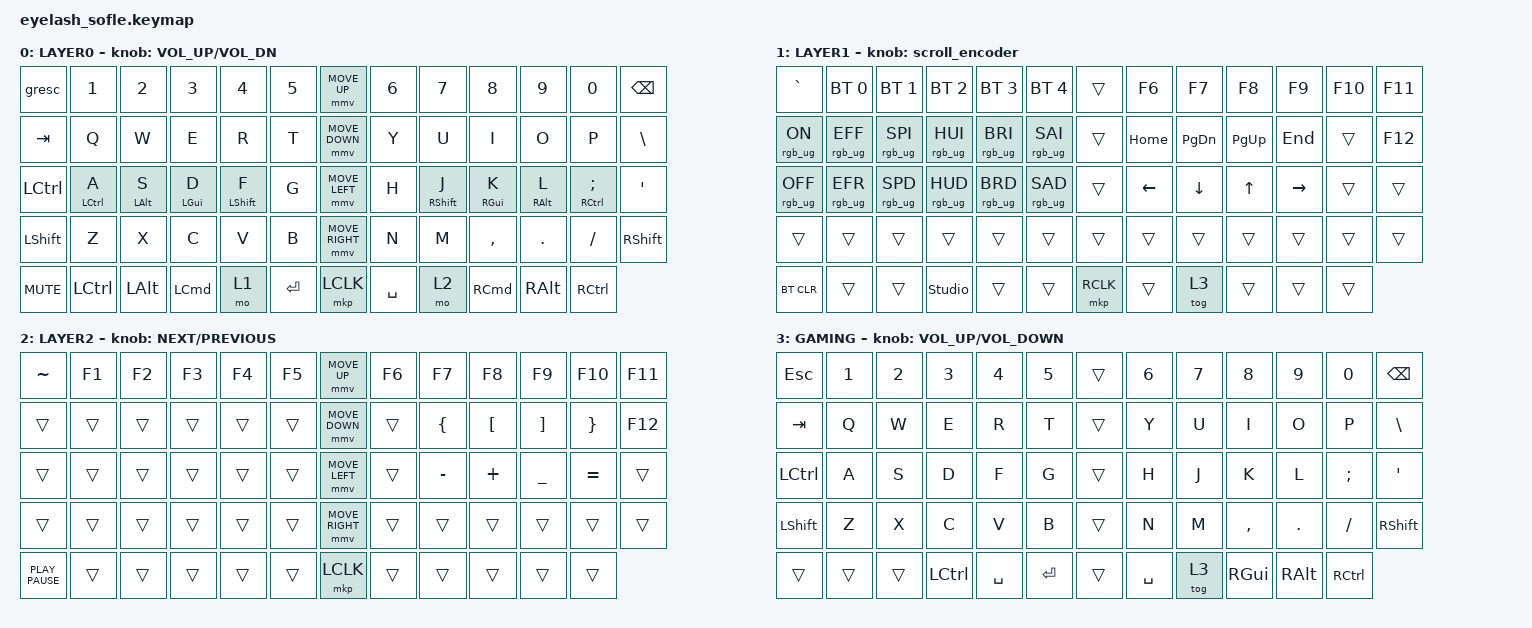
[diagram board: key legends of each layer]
#include <dt-bindings/zmk/mouse.h>
#include <input/processors.dtsi>
#include <behaviors.dtsi>
#include <dt-bindings/zmk/bt.h>
#include <dt-bindings/zmk/keys.h>
#include <dt-bindings/zmk/pointing.h>
#include <dt-bindings/zmk/rgb.h>


#define ZMK_MOUSE_DEFAULT_MOVE_VAL 1200  // 600
#define ZMK_MOUSE_DEFAULT_SCRL_VAL 20    // 10

/ {
    behaviors {
        hm: hm {
            compatible = "zmk,behavior-hold-tap";
            #binding-cells = <2>;
            flavor = "balanced";
            require-prior-idle-ms = <150>;
            tapping-term-ms = <280>;
            quick-tap-ms = <175>;
            bindings = <&kp>, <&kp>;
            //hold-trigger-key-positions = < ... >; // List of keys on the right side of the keyboard
            hold-trigger-on-release;
        };

        mmv {
            acceleration-exponent = <1>;      // 1
            time-to-max-speed-ms = <900>;    // 40
            delay-ms = <0>;                   // 0
        };

        msc {
            acceleration-exponent = <1>;      // 0
            time-to-max-speed-ms = <400>;      // 500
            delay-ms = <0>;                   //   10
        };
    };

    scroll_encoder: scroll_encoder {
        compatible = "zmk,behavior-sensor-rotate";
        #sensor-binding-cells = <0>;
        bindings = <&msc SCRL_DOWN>, <&msc SCRL_UP>;

        tap-ms = <30>;
    };

    keymap {
        compatible = "zmk,keymap";

        layer0 {
            bindings = <
&gresc            &kp N1      &kp N2        &kp N3            &kp N4        &kp N5       &mmv MOVE_UP     &kp N6     &kp N7       &kp N8             &kp N9         &kp N0             &kp BACKSPACE
&kp TAB           &kp Q       &kp W         &kp E             &kp R         &kp T        &mmv MOVE_DOWN   &kp Y      &kp U        &kp I              &kp O          &kp P              &kp BSLH
&kp LEFT_CONTROL  &hm LCTRL A &hm LALT S    &hm LGUI D        &hm LSHFT F   &kp G        &mmv MOVE_LEFT   &kp H      &hm RSHFT J  &hm RGUI K         &hm RALT L     &hm RCTRL SEMI     &kp APOS
&kp LSHFT         &kp Z       &kp X         &kp C             &kp V         &kp B        &mmv MOVE_RIGHT  &kp N      &kp M        &kp COMMA          &kp DOT        &kp FSLH           &kp RIGHT_SHIFT
&kp C_MUTE        &kp LCTRL   &kp LEFT_ALT  &kp LEFT_COMMAND  &mo 1         &kp ENTER    &mkp LCLK        &kp SPACE  &mo 2        &kp RIGHT_COMMAND  &kp RIGHT_ALT  &kp RIGHT_CONTROL
            >;

            sensor-bindings = <&inc_dec_kp C_VOLUME_UP C_VOL_DN>;
            display-name = "LAYER0";
        };

        layer1 {
            bindings = <
&kp GRAVE        &bt BT_SEL 0     &bt BT_SEL 1     &bt BT_SEL 2     &bt BT_SEL 3     &bt BT_SEL 4       &trans     &kp F6          &kp F7          &kp F8        &kp F9     &kp F10  &kp F11
&rgb_ug RGB_ON   &rgb_ug RGB_EFF  &rgb_ug RGB_SPI  &rgb_ug RGB_HUI  &rgb_ug RGB_BRI  &rgb_ug RGB_SAI    &trans     &kp HOME        &kp PAGE_DOWN   &kp PAGE_UP   &kp END    &trans   &kp F12
&rgb_ug RGB_OFF  &rgb_ug RGB_EFR  &rgb_ug RGB_SPD  &rgb_ug RGB_HUD  &rgb_ug RGB_BRD  &rgb_ug RGB_SAD    &trans     &kp LEFT_ARROW  &kp DOWN_ARROW  &kp UP_ARROW  &kp RIGHT  &trans   &trans
&trans           &trans           &trans           &trans           &trans           &trans             &trans     &trans          &trans          &trans        &trans     &trans   &trans
&bt BT_CLR       &trans           &trans           &studio_unlock   &trans           &trans             &mkp RCLK  &trans          &tog 3          &trans        &trans     &trans
            >;

            display-name = "LAYER1";
            sensor-bindings = <&scroll_encoder>;
        };

        layer2 {
            bindings = <
&kp TILDE         &kp F1  &kp F2  &kp F3  &kp F4  &kp F5    &mmv MOVE_UP     &kp F6  &kp F7          &kp F8            &kp F9             &kp F10          &kp F11
&trans            &trans  &trans  &trans  &trans  &trans    &mmv MOVE_DOWN   &trans  &kp LEFT_BRACE  &kp LEFT_BRACKET  &kp RIGHT_BRACKET  &kp RIGHT_BRACE  &kp F12
&trans            &trans  &trans  &trans  &trans  &trans    &mmv MOVE_LEFT   &trans  &kp MINUS       &kp PLUS          &kp UNDERSCORE     &kp EQUAL        &trans
&trans            &trans  &trans  &trans  &trans  &trans    &mmv MOVE_RIGHT  &trans  &trans          &trans            &trans             &trans           &trans
&kp K_PLAY_PAUSE  &trans  &trans  &trans  &trans  &trans    &mkp LCLK        &trans  &trans          &trans            &trans             &trans
            >;

            sensor-bindings = <&inc_dec_kp K_NEXT K_PREVIOUS>;
            label = "LAYER2";
        };

        Gaming {
            bindings = <
&kp ESC    &kp N1  &kp N2  &kp N3     &kp N4     &kp N5     &trans  &kp N6     &kp N7  &kp N8     &kp N9    &kp N0     &kp BSPC
&kp TAB    &kp Q   &kp W   &kp E      &kp R      &kp T      &trans  &kp Y      &kp U   &kp I      &kp O     &kp P      &kp BSLH
&kp LCTRL  &kp A   &kp S   &kp D      &kp F      &kp G      &trans  &kp H      &kp J   &kp K      &kp L     &kp SEMI   &kp SQT
&kp LSHFT  &kp Z   &kp X   &kp C      &kp V      &kp B      &trans  &kp N      &kp M   &kp COMMA  &kp DOT   &kp FSLH   &kp RSHFT
&trans     &trans  &trans  &kp LCTRL  &kp SPACE  &kp RET    &trans  &kp SPACE  &tog 3  &kp RGUI   &kp RALT  &kp RCTRL
            >;

            sensor-bindings = <&inc_dec_kp K_VOLUME_UP K_VOLUME_DOWN>;
            label = "GAMING";
        };
    };
};
